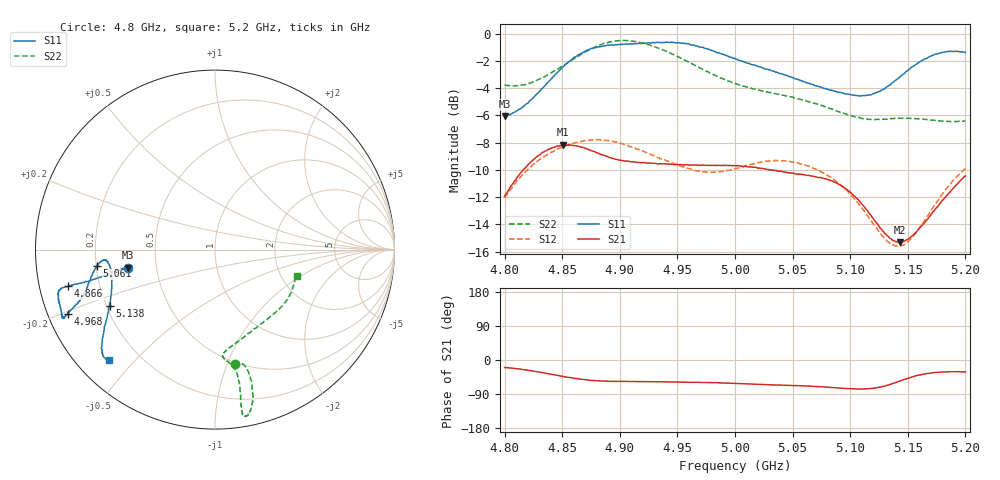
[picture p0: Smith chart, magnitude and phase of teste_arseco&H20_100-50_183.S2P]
! Network Analyzer HP8722D
! Hewlett-Packard
! Data name: Linha & Wilkinson
! Saver's name: Rodrigo Anjos
! Comments: Teste da utilização de aquisição
! continua pelo VNA HP8722D
! Time and date: 6/5/2025 14:05
!  Frequency  S11  S21  S12  S22
# HZ  S  MA R 50
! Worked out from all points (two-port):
!   401 points, 4.8 GHz to 5.2 GHz, reference 50 ohm
!   highest |S21| = -8.16 dB at 4.851 GHz (marker M1); lowest = -15.3 dB at 5.143 GHz (marker M2)
!   |S21| within 3 dB of the highest: 4.806 GHz to 5.092 GHz (286.3 MHz wide, 5.78 % of centre); 5.191612 GHz to end of sweep
!   lowest |S11| = -6.1 dB at 4.8 GHz (marker M3), VSWR 2.98, Z = 16.9 - j4.54 ohm
!   |S11| at or under -10 dB: nowhere
!   |S22| runs from -6.5 to -0.5 dB; largest |S21 - S12| = 0.62
!   S11 on the Smith chart (normalised r, x): 4.8 GHz: 0.34, -0.09; 4.866 GHz: 0.09, -0.12; 4.968 GHz: 0.06, -0.21; 5.061 GHz: 0.20, -0.07; 5.138 GHz: 0.21, -0.24; 5.2 GHz: 0.09, -0.42
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4.8e9  0.4972 -168.3  0.2528 -19.8  0.2496 -141.1  0.6482 -80.3
4.824e9  0.5782 -167.6  0.3422 -29.0  0.3287 -144.3  0.6628 -75.9
4.851e9  0.7574 -166.0  0.3909 -43.5  0.3843 -149.4  0.7647 -74.6
4.866e9  0.844 -166.0  0.3832 -50.4  0.4017 -152.1  0.8376 -75.3
4.867e9  0.8485 -166.0  0.3833 -50.9  0.4025 -152.2  0.8422 -75.4
4.88e9  0.8904 -165.6  0.3654 -54.8  0.4084 -154.3  0.9012 -76.8
4.899e9  0.9122 -163.1  0.3437 -56.6  0.3976 -156.8  0.9431 -79.1
4.934e9  0.9273 -156.4  0.3325 -57.5  0.3505 -155.8  0.8834 -80.6
4.968e9  0.8957 -156.5  0.3292 -59.2  0.3138 -147.6  0.7546 -79.6
5e9  0.8122 -159.1  0.3275 -61.8  0.3195 -137.3  0.6564 -81.3
5.035e9  0.7224 -165.5  0.3144 -66.0  0.3428 -134.5  0.6029 -85.6
5.061e9  0.6633 -172.0  0.3031 -68.5  0.329 -136.4  0.5692 -84.0
5.067e9  0.6512 -173.2  0.3002 -69.3  0.3218 -136.9  0.5576 -82.7
5.084e9  0.6206 -174.7  0.2883 -72.6  0.2948 -138.5  0.5291 -76.3
5.101e9  0.5966 -172.0  0.26 -75.8  0.2549 -138.9  0.5002 -66.5
5.116e9  0.5948 -165.4  0.2201 -75.9  0.2118 -135.6  0.4845 -55.7
5.134e9  0.6458 -154.2  0.1784 -65.1  0.1704 -120.6  0.4875 -43.2
5.138e9  0.6658 -151.8  0.1735 -61.0  0.167 -115.6  0.4879 -40.9
5.143e9  0.6932 -149.3  0.1716 -55.8  0.166 -108.9  0.4891 -38.0
5.154e9  0.7574 -144.5  0.1813 -44.4  0.1793 -95.0  0.4886 -32.2
5.172e9  0.8347 -139.2  0.2221 -33.6  0.2302 -81.3  0.4821 -24.6
5.2e9  0.8529 -133.8  0.3002 -31.4  0.3199 -77.0  0.4782 -17.6
